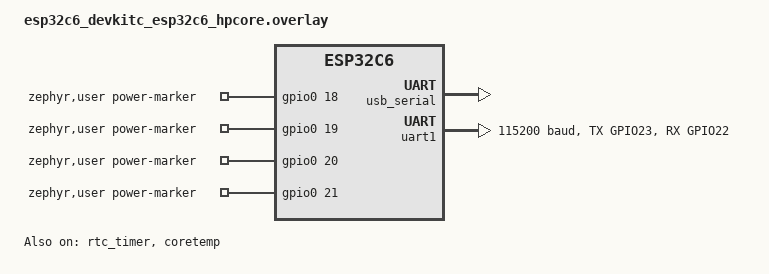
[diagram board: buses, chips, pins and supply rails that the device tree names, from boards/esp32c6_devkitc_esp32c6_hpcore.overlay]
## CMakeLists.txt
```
cmake_minimum_required(VERSION 3.20.0)
find_package(Zephyr REQUIRED HINTS $ENV{ZEPHYR_BASE})
project(power_sleep_test)

# The real modem code from IoTEdge/src (not copies)
set(EDGE_SRC ${CMAKE_CURRENT_LIST_DIR}/../../src)
target_include_directories(app PRIVATE ${EDGE_SRC})
target_sources(app PRIVATE
    src/main.c
    ${EDGE_SRC}/at_parser.c
    ${EDGE_SRC}/modem.c
)
```

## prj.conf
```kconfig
CONFIG_SERIAL=y
CONFIG_UART_INTERRUPT_DRIVEN=y
CONFIG_RING_BUFFER=y
CONFIG_GPIO=y
# No CONFIG_LOG: with logging on, Zephyr 4.4's ESP32 PM code needs a 'soc'
# log module that is never registered (link error). printk is used instead.
CONFIG_LOG=n
CONFIG_PRINTK=y
CONFIG_MAIN_STACK_SIZE=4096

# Power management: light sleep when idle, deep sleep via sys_poweroff()
CONFIG_PM=y
CONFIG_PM_DEVICE=y
CONFIG_POWEROFF=y
CONFIG_COUNTER=y
```

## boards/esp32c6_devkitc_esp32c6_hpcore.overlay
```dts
#include <zephyr/dt-bindings/pinctrl/esp32c6-pinctrl.h>
#include <zephyr/dt-bindings/gpio/gpio.h>

/ {
    chosen {
        zephyr,console = &usb_serial;
        zephyr,shell-uart = &usb_serial;
    };

    /* Phase markers for PPK2 current measurements (power_marker.h).
     * Only driven when APP_POWER_MARKERS = 1. PPK2 logic port D0-D3. */
    zephyr,user {
        power-marker-gpios = <&gpio0 18 GPIO_ACTIVE_HIGH>,
                             <&gpio0 19 GPIO_ACTIVE_HIGH>,
                             <&gpio0 20 GPIO_ACTIVE_HIGH>,
                             <&gpio0 21 GPIO_ACTIVE_HIGH>;
    };
};

&usb_serial {
    status = "okay";
};

/* RTC timer wakes the chip from light sleep (as in Zephyr's light_sleep sample) */
&rtc_timer {
    status = "okay";
    wakeup-source;
};

&coretemp {
    status = "okay";
    range-min = <(-10)>;
    range-max = <80>;
};

/* SIM7080G (M5Stamp CatM) cellular modem: ESP TX = GPIO23, RX = GPIO22 */
&pinctrl {
    uart1_modem: uart1_modem {
        group1 {
            pinmux = <UART1_TX_GPIO23>;
            output-high;
        };
        group2 {
            pinmux = <UART1_RX_GPIO22>;
            bias-pull-up;
        };
    };
};

&uart1 {
    status = "okay";
    current-speed = <115200>;
    pinctrl-0 = <&uart1_modem>;
    pinctrl-names = "default";
};
```

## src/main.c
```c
/* power_sleep_test - steps the ESP32-C6 and the SIM7080G through their
 * power states, one phase at a time, for PPK2 measurements (test 4).
 *
 * The phase number is shown in binary on the PPK2 logic port
 * (D0 = bit 0, D1 = bit 1, D2 = bit 2; GPIO18/19/20), so every state can be
 * read off under the current plot. All markers low = deep sleep (or boot).
 *
 *   1  ESP CPU busy (100 % load)            modem registered, idle
 *   2  ESP idle, no light sleep (PM locked) modem registered, idle
 *   3  ESP light sleep                      modem registered, idle
 *   4  ESP light sleep                      modem radio off (AT+CFUN=0)
 *   5  ESP idle, no light sleep             modem radio off
 *   -  ESP deep sleep (markers low)         modem radio off
 *   ... wakes by timer -> reboots -> starts again at phase 1
 *
 * Phase length: PHASE_S. Deep sleep length: DEEP_SLEEP_S.
 */
#include <zephyr/kernel.h>
#include <zephyr/device.h>
#include <zephyr/drivers/gpio.h>
#include <zephyr/pm/pm.h>
#include <zephyr/pm/device.h>
#include <zephyr/pm/policy.h>
#include <zephyr/sys/poweroff.h>
#include <esp_sleep.h>
#include <esp_rom_sys.h>
#include <soc/reset_reasons.h>

#include "modem.h"
#include "at_parser.h"


#define PHASE_S       20
#define DEEP_SLEEP_S  30

#define USER_NODE DT_PATH(zephyr_user)
static const struct gpio_dt_spec marks[] = {
	DT_FOREACH_PROP_ELEM_SEP(USER_NODE, power_marker_gpios, GPIO_DT_SPEC_GET_BY_IDX, (,))
};

static const struct modem_cfg cfg = {
	.apn = "onomondo",
	.broker = "unused.invalid", /* no MQTT in this test */
	.port = 1883,
	.client_id = "power-sleep-test",
};

static bool pm_locked;

/* Keep the PM subsystem out of light sleep (phases 1, 2, 5 and all AT work:
 * the UART to the modem must keep running while we talk to it). */
static void light_sleep_allowed(bool allowed)
{
	if (allowed && pm_locked) {
		pm_policy_state_lock_put(PM_STATE_STANDBY, PM_ALL_SUBSTATES);
		pm_locked = false;
	} else if (!allowed && !pm_locked) {
		pm_policy_state_lock_get(PM_STATE_STANDBY, PM_ALL_SUBSTATES);
		pm_locked = true;
	}
}

static void show_phase(int phase)
{
	for (int b = 0; b < 3; b++) {
		gpio_pin_set_dt(&marks[b], (phase >> b) & 1);
	}
}

static void announce(int phase, const char *what)
{
	printk("PHASE %d: %s (%d s)\n", phase, what, PHASE_S);
	k_busy_wait(20000); /* let the log line leave before a sleep phase */
	show_phase(phase);
}

static void busy_for(int secs)
{
	int64_t end = k_uptime_get() + secs * 1000LL;

	while (k_uptime_get() < end) {
		k_busy_wait(1000);
	}
}

int main(void)
{
	const struct device *uart = DEVICE_DT_GET(DT_NODELABEL(uart1));
	const struct device *rtc = DEVICE_DT_GET(DT_NODELABEL(rtc_timer));
	int ret;

	light_sleep_allowed(false);
	for (size_t i = 0; i < ARRAY_SIZE(marks); i++) {
		gpio_pin_configure_dt(&marks[i], GPIO_OUTPUT_INACTIVE);
	}
	/* The RTC timer has to be a wakeup source for light sleep to end */
	if (pm_device_wakeup_is_capable(rtc)) {
		pm_device_wakeup_enable(rtc, true);
	}

	/* Reset register: 0x05 = woke from deep sleep. Anything else = power-on,
	 * reset button, flashing, or a crash/watchdog (which would be a bug). */
	int reason = (int)esp_rom_get_reset_reason(0);

	printk("power_sleep_test: reset reason 0x%02x (%s)\n", reason,
	       reason == RESET_REASON_CORE_DEEP_SLEEP ? "woke from deep sleep" : "other reset");

	/* Back from phases 4/5 + deep sleep the modem's radio (and SIM) is still
	 * off, and modem_init() checks the SIM. So turn the radio on first. */
	ret = at_init(uart);
	if (ret == 0 || ret == -EALREADY) {
		for (int i = 0; i < 15 && at_send("AT", NULL, 0, K_SECONDS(1)) != 0; i++) {
		}
		(void)at_send("AT+CFUN=1", NULL, 0, K_SECONDS(10));
		ret = modem_init(uart, &cfg);
	}
	if (ret == 0) {
		ret = modem_attach(120000);
	}
	printk("modem ready=%d (registered = 0)\n", ret);

	announce(1, "ESP busy, modem idle");
	busy_for(PHASE_S);

	announce(2, "ESP idle (no light sleep), modem idle");
	k_sleep(K_SECONDS(PHASE_S));

	announce(3, "ESP light sleep, modem idle");
	light_sleep_allowed(true);
	k_sleep(K_SECONDS(PHASE_S));
	light_sleep_allowed(false);

	show_phase(0);
	ret = at_send("AT+CFUN=0", NULL, 0, K_SECONDS(10));
	printk("AT+CFUN=0 -> %d\n", ret);

	announce(4, "ESP light sleep, modem radio off");
	light_sleep_allowed(true);
	k_sleep(K_SECONDS(PHASE_S));
	light_sleep_allowed(false);

	announce(5, "ESP idle (no light sleep), modem radio off");
	k_sleep(K_SECONDS(PHASE_S));

	printk("DEEP SLEEP for %d s (markers low), then reboot\n", DEEP_SLEEP_S);
	k_busy_wait(20000);
	show_phase(0);
	esp_sleep_enable_timer_wakeup((uint64_t)DEEP_SLEEP_S * 1000000ULL);
	sys_poweroff();
	return 0;
}
```
